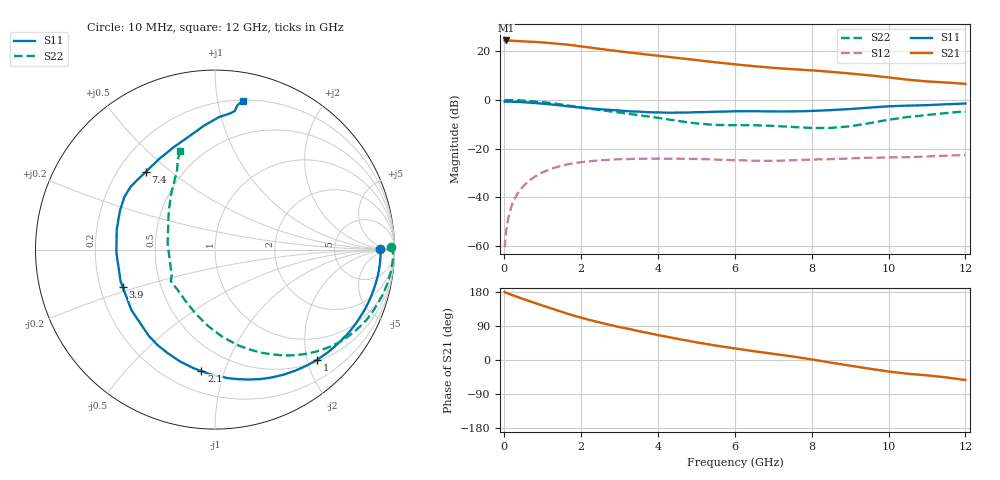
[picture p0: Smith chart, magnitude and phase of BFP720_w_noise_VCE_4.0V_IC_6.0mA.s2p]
! Infineon Technologies  Discrete & RF Semiconductors
! BFP720
! VCE =  4.0 V,  IC =  6.0 mA
! Common Emitter S-Parameters:  Aug 2012
# GHz  S  MA  R  50
!  f  S11  S21  S12  S22
! GHz  MAG  ANG  MAG  ANG  MAG  ANG  MAG  ANG
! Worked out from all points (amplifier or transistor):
!   105 points, 10 MHz to 12 GHz, reference 50 ohm
!   highest |S21| = 24.4 dB at 50 MHz (marker M1)
!   |S21| within 3 dB of that: start of sweep to 2.273 GHz
!   unconditionally stable (mu >= 1): start of sweep to 12.1 MHz; 6.263 GHz to 11.36 GHz
!   at 300 MHz: K = 0.10, MSG = 31.9 dB, |S12| = -39.7 dB
!   at 3.6 GHz: K = 0.54, MSG = 21.5 dB, |S12| = -24.1 dB
!   at 12 GHz: K = 0.79, MSG = 14.6 dB, |S12| = -22.7 dB
!   lowest NFmin = 0.43 dB at 450 MHz
!   S11 on the Smith chart (normalised r, x): 10 MHz: 24, +2; 1 GHz: 0.53, -2.19; 2.1 GHz: 0.33, -0.84; 3.9 GHz: 0.30, -0.18; 7.4 GHz: 0.32, +0.41; 12 GHz: 0.21, +1.18
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0.01  0.9208 0.3  16.52 179.5  0.0011 4.1  0.9783 1.0
0.02  0.924 -0.8  16.41 178.2  0.001 55.5  0.992 -0.5
0.05  0.9225 -2.4  16.56 177.2  0.002 61.8  0.9919 -1.5
0.2  0.9189 -9.3  16.32 171.7  0.007 79.5  0.9888 -6.2
0.45  0.9004 -20.9  15.91 162.5  0.0155 75.4  0.9711 -14.0
0.8  0.8623 -37.5  15.48 150.4  0.0268 66.5  0.9312 -24.7
1  0.8375 -47.1  15.06 143.7  0.0326 61.1  0.8995 -30.8
1.3  0.7947 -61.3  14.38 133.6  0.0404 53.3  0.8446 -39.4
1.6  0.7472 -75.7  13.74 123.6  0.0467 45.9  0.7832 -47.4
2.1  0.681 -96.4  12.22 109.0  0.0539 35.2  0.6845 -59.0
2.6  0.6347 -114.4  10.85 96.1  0.0584 26.6  0.6033 -69.0
3  0.6056 -127.6  9.91 86.9  0.0606 20.9  0.5497 -76.3
3.5  0.5746 -144.2  8.928 76.1  0.0621 14.7  0.4872 -85.2
3.9  0.5549 -157.8  8.215 68.0  0.0625 10.6  0.4392 -92.9
4.1  0.5501 -164.7  7.892 63.9  0.0626 8.6  0.4163 -97.1
5  0.5587 168.6  6.562 46.6  0.0615 1.1  0.3302 -119.8
6.1  0.584 148.3  5.272 29.0  0.0577 -3.4  0.3026 -141.2
7.4  0.5802 131.5  4.317 10.7  0.0575 -2.5  0.2817 -148.9
8.5  0.6165 111.5  3.762 -6.9  0.061 -4.2  0.2663 172.5
9.5  0.6944 94.9  3.19 -22.8  0.0652 -6.9  0.3331 140.7
10.5  0.7631 83.7  2.595 -36.2  0.0667 -10.2  0.4452 120.5
12  0.8435 79.4  2.133 -52.8  0.0736 -15.9  0.5839 109.5
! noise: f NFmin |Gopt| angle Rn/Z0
0.45  0.43  0.44  3  0.13
1.8  0.51  0.42  24  0.13
2.4  0.55  0.3  55  0.23
5.5  0.69  0.2  58  0.14
10  0.95  0.39  -89  0.21
